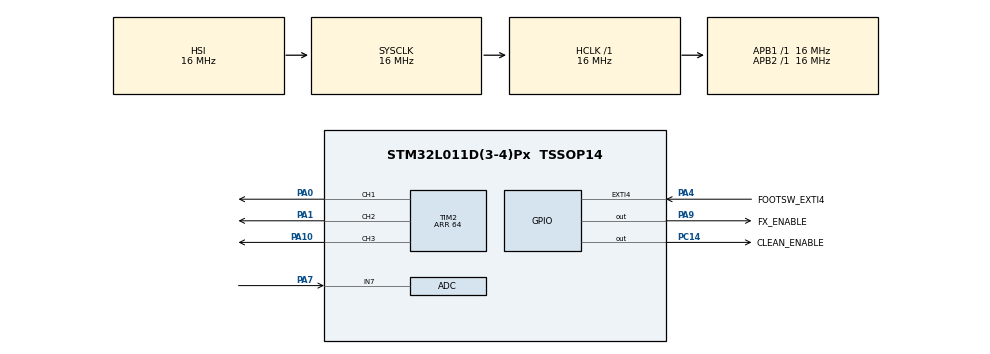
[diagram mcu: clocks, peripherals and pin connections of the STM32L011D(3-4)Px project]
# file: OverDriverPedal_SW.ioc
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ADC.ContinuousConvMode=ENABLE
ADC.DMAContinuousRequests=ENABLE
ADC.Overrun=ADC_OVR_DATA_OVERWRITTEN
Dma.ADC.0.Direction=DMA_PERIPH_TO_MEMORY
Dma.ADC.0.Instance=DMA1_Channel1
Dma.ADC.0.MemDataAlignment=DMA_MDATAALIGN_BYTE
Dma.ADC.0.MemInc=DMA_MINC_ENABLE
Dma.ADC.0.Mode=DMA_CIRCULAR
Dma.ADC.0.PeriphDataAlignment=DMA_PDATAALIGN_BYTE
Dma.ADC.0.PeriphInc=DMA_PINC_DISABLE
Dma.ADC.0.Priority=DMA_PRIORITY_LOW
Dma.Request0=ADC
Mcu.Family=STM32L0
Mcu.Name=STM32L011D(3-4)Px
Mcu.Package=TSSOP14
NVIC.DMA1_Channel1_IRQn=true\:1\:0\:true\:false\:true\:false\:true
NVIC.EXTI4_15_IRQn=true\:0\:0\:false\:false\:true\:true\:true
NVIC.LPTIM1_IRQn=true\:0\:0\:false\:false\:true\:true\:true
NVIC.TIM21_IRQn=true\:0\:0\:false\:false\:true\:true\:true
PA0-CK_IN.Signal=S_TIM2_CH1
PA1.Signal=S_TIM2_CH2
PA10.Signal=S_TIM2_CH3
PA13.Mode=Serial_Wire
PA13.Signal=SYS_SWDIO
PA14.Mode=Serial_Wire
PA14.Signal=SYS_SWCLK
PA4.GPIO_Label=FOOTSW_EXTI4
PA4.GPIO_ModeDefaultEXTI=GPIO_MODE_IT_FALLING
PA4.GPIO_PuPd=GPIO_PULLUP
PA4.Signal=GPXTI4
PA7.Mode=IN7
PA7.Signal=ADC_IN7
PA9.GPIO_Label=FX_ENABLE
PA9.GPIO_PuPd=GPIO_PULLUP
PA9.Signal=GPIO_Output
PC14-OSC32_IN.GPIO_Label=CLEAN_ENABLE
PC14-OSC32_IN.GPIO_PuPd=GPIO_PULLUP
PC14-OSC32_IN.PinState=GPIO_PIN_RESET
PC14-OSC32_IN.Signal=GPIO_Output
ProjectManager.HeapSize=0x200
ProjectManager.StackSize=0x400
ProjectManager.TargetToolchain=STM32CubeIDE
RCC.AHBFreq_Value=16000000
RCC.APB1Freq_Value=16000000
RCC.APB1TimFreq_Value=16000000
RCC.APB2Freq_Value=16000000
RCC.APB2TimFreq_Value=16000000
RCC.HCLKFreq_Value=16000000
RCC.HSE_VALUE=8000000
RCC.HSI16_VALUE=16000000
RCC.HSI_VALUE=16000000
RCC.LSE_VALUE=32768
RCC.MSI_VALUE=2097000
RCC.PLLMUL=RCC_PLLMUL_4
RCC.SYSCLKFreq_VALUE=16000000
RCC.SYSCLKSource=RCC_SYSCLKSOURCE_HSI
RCC.VCOOutputFreq_Value=64000000
SH.S_TIM2_CH1.0=TIM2_CH1,PWM Generation1 CH1
SH.S_TIM2_CH2.0=TIM2_CH2,PWM Generation2 CH2
SH.S_TIM2_CH3.0=TIM2_CH3,PWM Generation3 CH3
TIM2.Channel-PWM\ Generation1\ CH1=TIM_CHANNEL_1
TIM2.Channel-PWM\ Generation2\ CH2=TIM_CHANNEL_2
TIM2.Channel-PWM\ Generation3\ CH3=TIM_CHANNEL_3
TIM2.Period=64
TIM21.Period=65535
TIM21.Prescaler=65535
VP_LPTIM1_VS_LPTIM_counterModeInternalClock.Mode=Counts__internal_clock_event_00
VP_TIM21_VS_ClockSourceINT.Mode=Internal
board=custom

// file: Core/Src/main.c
/* USER CODE BEGIN Header */
/**
  ******************************************************************************
  * @file           : main.c
  * @brief          : Main program body
  ******************************************************************************
  * @attention
  *
  * <h2><center>&copy; Copyright (c) 2020 STMicroelectronics.
  * All rights reserved.</center></h2>
  *
  * This software component is licensed by ST under BSD 3-Clause license,
  * the "License"; You may not use this file except in compliance with the
  * License. You may obtain a copy of the License at:
  *                        opensource.org/licenses/BSD-3-Clause
  *
  ******************************************************************************
  */
/* USER CODE END Header */

#include "main.h"
#include "adc.h"
#include "dma.h"
#include "lptim.h"
#include "tim.h"
#include "gpio.h"

/* USER CODE BEGIN PV */
	  uint8_t temp = 1;
uint32_t adc_data[ADC_DATA_MAX];
/* USER CODE END PV */

void SystemClock_Config(void);

int main(void)
{

  /* MCU Configuration--------------------------------------------------------*/

  /* Reset of all peripherals, Initializes the Flash interface and the Systick. */
  HAL_Init();

  /* Configure the system clock */
  SystemClock_Config();

  /* Initialize all configured peripherals */
  MX_GPIO_Init();
  MX_DMA_Init();
  MX_TIM2_Init();
  MX_TIM21_Init();
  MX_ADC_Init();
  MX_LPTIM1_Init();
  /* USER CODE BEGIN 2 */

  // start PWM outputs
  HAL_TIM_PWM_Start(&htim2, TIM_CHANNEL_1);
  HAL_TIM_PWM_Start(&htim2, TIM_CHANNEL_2);
  HAL_TIM_PWM_Start(&htim2, TIM_CHANNEL_3);

  // init PWM to 50% duty
  TIM2->ARR = 8191;
  TIM2->CCR1 = 0;
  TIM2->CCR2 = 0;
  TIM2->CCR3 = 0;

  // debounce timer
  HAL_TIM_Base_Start_IT(&htim21);

  // led fade timer
  HAL_LPTIM_Counter_Start_IT(&hlptim1, LED_PERIOD_LIMIT);
  LPTIM1->CFGR |= LPTIM_CFGR_PRESC_0 | LPTIM_CFGR_PRESC_1 | LPTIM_CFGR_PRESC_2;
  LPTIM1->ARR = 512;

  // init bypass switch (clean signal default)

  HAL_GPIO_WritePin(CLEAN_ENABLE_GPIO_Port, CLEAN_ENABLE_Pin, 1);
  HAL_GPIO_WritePin(FX_ENABLE_GPIO_Port, FX_ENABLE_Pin, 0);

  //HAL_ADC_Start_DMA(&hadc, adc_data, ADC_DATA_MAX);
  /* USER CODE END 2 */

  /* Infinite loop */
  /* USER CODE BEGIN WHILE */
  while (1)
  {

	  temp++;
    /* USER CODE END WHILE */

  }
}

void SystemClock_Config(void)
{
  RCC_OscInitTypeDef RCC_OscInitStruct = {0};
  RCC_ClkInitTypeDef RCC_ClkInitStruct = {0};
  RCC_PeriphCLKInitTypeDef PeriphClkInit = {0};

  /** Configure the main internal regulator output voltage
  */
  __HAL_PWR_VOLTAGESCALING_CONFIG(PWR_REGULATOR_VOLTAGE_SCALE1);
  /** Initializes the CPU, AHB and APB busses clocks
  */
  RCC_OscInitStruct.OscillatorType = RCC_OSCILLATORTYPE_HSI;
  RCC_OscInitStruct.HSIState = RCC_HSI_ON;
  RCC_OscInitStruct.HSICalibrationValue = RCC_HSICALIBRATION_DEFAULT;
  RCC_OscInitStruct.PLL.PLLState = RCC_PLL_NONE;
  if (HAL_RCC_OscConfig(&RCC_OscInitStruct) != HAL_OK)
  {
    Error_Handler();
  }
  /** Initializes the CPU, AHB and APB busses clocks
  */
  RCC_ClkInitStruct.ClockType = RCC_CLOCKTYPE_HCLK|RCC_CLOCKTYPE_SYSCLK
                              |RCC_CLOCKTYPE_PCLK1|RCC_CLOCKTYPE_PCLK2;
  RCC_ClkInitStruct.SYSCLKSource = RCC_SYSCLKSOURCE_HSI;
  RCC_ClkInitStruct.AHBCLKDivider = RCC_SYSCLK_DIV1;
  RCC_ClkInitStruct.APB1CLKDivider = RCC_HCLK_DIV1;
  RCC_ClkInitStruct.APB2CLKDivider = RCC_HCLK_DIV1;

  if (HAL_RCC_ClockConfig(&RCC_ClkInitStruct, FLASH_LATENCY_0) != HAL_OK)
  {
    Error_Handler();
  }
  PeriphClkInit.PeriphClockSelection = RCC_PERIPHCLK_LPTIM1;
  PeriphClkInit.LptimClockSelection = RCC_LPTIM1CLKSOURCE_PCLK;

  if (HAL_RCCEx_PeriphCLKConfig(&PeriphClkInit) != HAL_OK)
  {
    Error_Handler();
  }
}

void Error_Handler(void)
{
}

/************************ (C) COPYRIGHT STMicroelectronics *****END OF FILE****/
